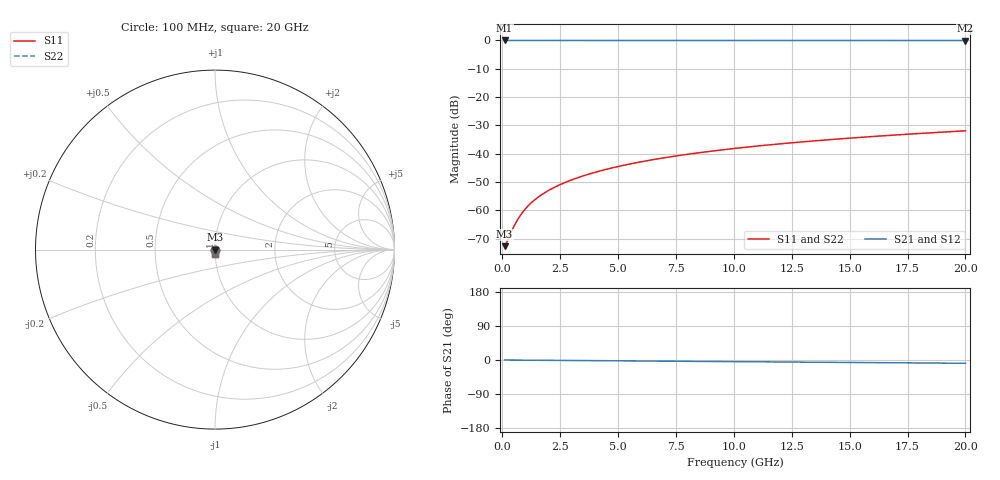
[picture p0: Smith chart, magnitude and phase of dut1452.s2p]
! Touchstone file exported from HFSS 2026.1.0
!  File:  C:/ffzhzh/LocalFiles/Ansys_Project_Files/temp_train_TSV_1452_1783197918_55132.aedt
!  Generated:  04:46:55 AM Jul  5, 2026
!  Design:  TSV
!  Project:  temp_train_TSV_1452_1783197918_55132
! Variables:
!  h_bsmrdl = 2um
!  h_ox = 20um
!  h_rdl = 5um
!  h_sub = 91.39um
!  h_tmrdl = 5um
!  h_tsv = 91.39um
!  h_via = 3um
!  l_bsmrdl = 300um
!  l_sub = 415.44um
!  l_tmrdl = 200um
!  m_sub = 200um
!  pitch = 26.67um
!  r_tsv = 7.72um
!  s_tmrdl = 10um
!  w_bsmrdl = 18um
!  w_sub = 500um
!  w_tmrdl = 12um
!  x_tsv_center1 = 206um
!  x_tsv_center2 = 524um
!  x_tsv_center3 = 736um
!  x_tsv_center4 = 1054um
!  x_tsv_center5 = 1266um
!  x_tsv_center6 = 1584um
# GHz S MA R 50.000000
! Terminal data exported
! Port[1] = TSV1_1_T1
! Port[2] = TSV1_1_T2
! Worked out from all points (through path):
!   200 points, 100 MHz to 20 GHz, reference 50 ohm
!   highest |S21| = 0.00 dB at 100 MHz (marker M1); lowest = 0.0 dB at 20 GHz (marker M2)
!   group delay of S21, straight-line fit = 1.2 ps
!   lowest |S11| = -72.7 dB at 100 MHz (marker M3), VSWR 1.00, Z = 50 - j0.00665 ohm
!   |S11| at or under -10 dB: start of sweep to end of sweep
!   |S22| runs from -72.7 to -31.9 dB; largest |S21 - S12| = 4.4e-15
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0.1  0.0002318 -16.7  0.9998 -0.0  0.9998 -0.0  0.0002318 -16.7
! Gamma 0 0 0 0
! Port Impedance 50 0 50 0
0.2  0.0002759 -29.9  0.9998 -0.1  0.9998 -0.1  0.0002759 -29.9
0.4  0.0004227 -45.7  0.9997 -0.2  0.9997 -0.2  0.0004227 -45.7
0.5  0.0005152 -50.6  0.9997 -0.2  0.9997 -0.2  0.0005152 -50.6
0.7  0.0007221 -57.5  0.9996 -0.3  0.9996 -0.3  0.0007221 -57.5
0.8  0.0008323 -60.1  0.9996 -0.4  0.9996 -0.4  0.0008323 -60.1
1  0.00106 -64.3  0.9995 -0.4  0.9995 -0.4  0.00106 -64.3
1.3  0.00141 -68.8  0.9995 -0.6  0.9995 -0.6  0.00141 -68.8
1.7  0.001883 -72.7  0.9994 -0.8  0.9994 -0.8  0.001883 -72.7
2.2  0.002479 -75.9  0.9994 -1.0  0.9994 -1.0  0.002479 -75.9
2.8  0.003201 -78.4  0.9993 -1.2  0.9993 -1.2  0.003201 -78.4
3.5  0.004054 -80.3  0.9992 -1.5  0.9992 -1.5  0.004054 -80.3
4.2  0.004918 -81.7  0.9991 -1.8  0.9991 -1.8  0.004918 -81.7
5  0.005917 -83.0  0.999 -2.2  0.999 -2.2  0.005917 -83.0
5.9  0.007054 -84.1  0.9989 -2.6  0.9989 -2.6  0.007054 -84.1
6.8  0.0082 -85.1  0.9989 -3.0  0.9989 -3.0  0.0082 -85.1
8.3  0.01012 -86.6  0.9987 -3.6  0.9987 -3.6  0.01012 -86.6
10.1  0.01244 -88.1  0.9986 -4.4  0.9986 -4.4  0.01244 -88.1
11.7  0.01451 -89.3  0.9984 -5.1  0.9984 -5.1  0.01451 -89.3
13.4  0.01672 -90.5  0.9983 -5.8  0.9983 -5.8  0.01672 -90.5
16.7  0.021 -92.5  0.998 -7.2  0.998 -7.2  0.021 -92.5
20  0.02531 -94.3  0.9977 -8.6  0.9977 -8.6  0.02531 -94.3
